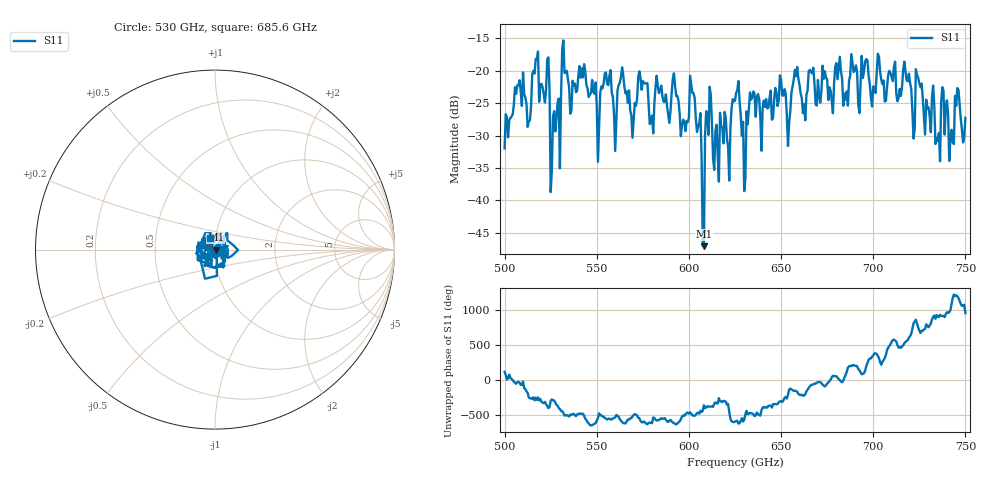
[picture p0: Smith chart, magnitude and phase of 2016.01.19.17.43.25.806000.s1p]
!Created with skrf (http://scikit-rf.org).
# GHz S RI R 50.0
!freq ReS11 ImS11
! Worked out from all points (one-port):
!   401 points, 500 GHz to 750 GHz, reference 50 ohm
!   lowest |S11| = -47.1 dB at 608.1 GHz (marker M1), VSWR 1.01, Z = 50.4 - j0.000203 ohm
!   |S11| at or under -10 dB: start of sweep to end of sweep
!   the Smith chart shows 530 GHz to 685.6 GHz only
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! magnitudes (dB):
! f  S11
! 500 GHz  -32.0
! 506.9 GHz  -22.3
! 513.1 GHz  -27.8
! 516.9 GHz  -18.2
! 523.1 GHz  -18.2
! 526.2 GHz  -27.1
! 531.2 GHz  -16.7
! 551.2 GHz  -29.0
! 556.2 GHz  -22.2
! 559.4 GHz  -26.7
! 562.5 GHz  -21.9
! 569.4 GHz  -30.4
! 573.8 GHz  -21.2
! 579.4 GHz  -27.9
! 593.8 GHz  -23.9
! 601.9 GHz  -23.4
! 608.1 GHz  -47.1
! 610.6 GHz  -29.9
! 615 GHz  -28.3
! 625 GHz  -24.6
! 629.4 GHz  -27.9
! 634.4 GHz  -24.1
! 656.2 GHz  -22.4
! 687.5 GHz  -20.7
! 718.8 GHz  -21.6
! 735 GHz  -30.8
! 738.1 GHz  -23.1
! 750 GHz  -27.3
